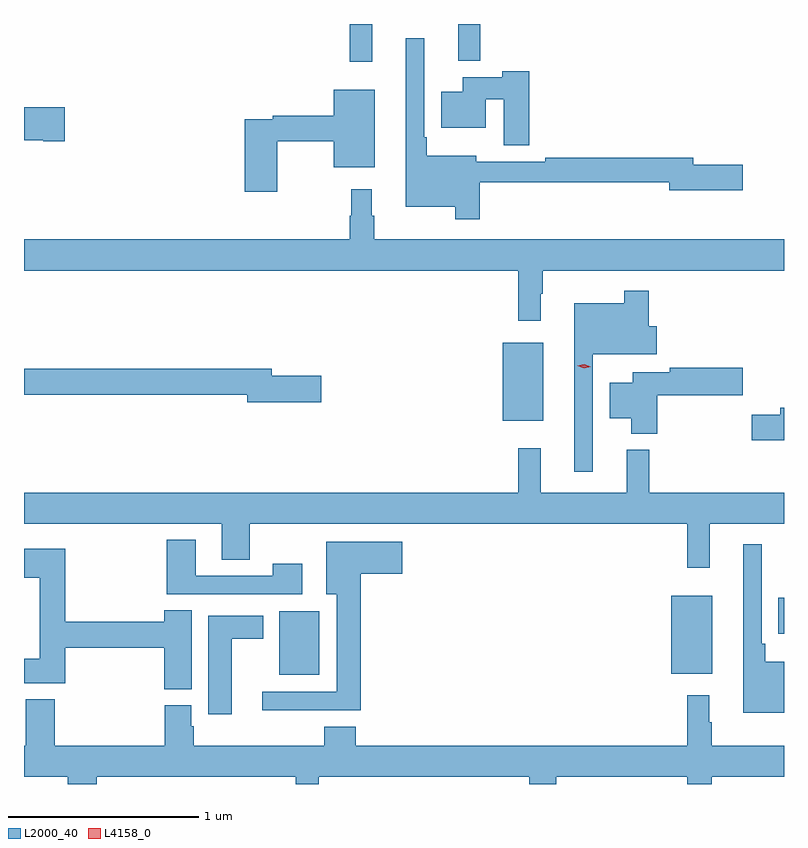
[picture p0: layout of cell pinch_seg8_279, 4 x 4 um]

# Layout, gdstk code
import gdstk
lib = gdstk.Library(unit=1e-6, precision=1e-09)
def R(c, l, rs):  # rectangles x0, y0, x1, y1
    for r in rs: c.add(gdstk.rectangle(r[:2], r[2:], *l))
def P(c, l, *ps):  # polygons
    for p in ps: c.add(gdstk.Polygon(p, *l))
L2000_40 = (2000, 40)
L4158_0 = (4158, 0)

pinch_seg8_279 = lib.new_cell('pinch_seg8_279')
R(pinch_seg8_279, L2000_40, [(504.506,1138.349,504.718,1138.684), (506.57,1138.355,506.785,1138.765), (507.134,1138.565,507.163,1138.753), (505.682,1139.687,505.897,1140.097), (504.877,1141.575,504.995,1141.774), (505.448,1141.58,505.565,1141.774)])
P(pinch_seg8_279, L2000_40, [(505.562,1140.942),(506.558,1140.942),(506.558,1140.899),(506.947,1140.899),(506.947,1141.034),(506.686,1141.034),(506.686,1141.07),(505.906,1141.07),(505.906,1141.05),(505.543,1141.05),(505.543,1141.081),(505.282,1141.081),(505.282,1141.177),(505.269,1141.177),(505.269,1141.699),(505.172,1141.699),(505.172,1140.812),(505.434,1140.812),(505.434,1140.747),(505.562,1140.747)],
  [(505.823,1141.525),(505.681,1141.525),(505.681,1141.495),(505.472,1141.495),(505.472,1141.417),(505.358,1141.417),(505.358,1141.229),(505.594,1141.229),(505.594,1141.378),(505.688,1141.378),(505.688,1141.137),(505.823,1141.137)],
  [(504.496,1141.156),(504.794,1141.156),(504.794,1141.019),(505.009,1141.019),(505.009,1141.429),(504.794,1141.429),(504.794,1141.292),(504.472,1141.292),(504.472,1141.272),(504.326,1141.272),(504.326,1140.891),(504.496,1140.891)],
  [(503.377,1141.335),(503.163,1141.335),(503.163,1141.163),(503.264,1141.163),(503.264,1141.157),(503.377,1141.157)],
  [(505.882,1140.353),(505.894,1140.353),(505.894,1140.476),(507.163,1140.476),(507.163,1140.64),(505.006,1140.64),(505.006,1140.764),(504.994,1140.764),(504.994,1140.904),(504.885,1140.904),(504.885,1140.764),(504.877,1140.764),(504.877,1140.64),(503.163,1140.64),(503.163,1140.476),(505.765,1140.476),(505.765,1140.213),(505.882,1140.213)],
  [(506.157,1140.035),(506.494,1140.035),(506.494,1140.183),(506.45,1140.183),(506.45,1140.37),(506.322,1140.37),(506.322,1140.304),(506.06,1140.304),(506.06,1139.418),(506.157,1139.418)],
  [(506.495,1139.819),(506.947,1139.819),(506.947,1139.966),(506.562,1139.966),(506.562,1139.941),(506.366,1139.941),(506.366,1139.887),(506.246,1139.887),(506.246,1139.699),(506.36,1139.699),(506.36,1139.618),(506.495,1139.618)],
  [(504.727,1139.924),(504.466,1139.924),(504.466,1139.96),(503.163,1139.96),(503.163,1139.824),(504.338,1139.824),(504.338,1139.782),(504.727,1139.782)],
  [(507.163,1139.753),(507.143,1139.753),(507.143,1139.717),(506.994,1139.717),(506.994,1139.582),(507.163,1139.582)],
  [(506.771,1139.144),(507.163,1139.144),(507.163,1139.308),(506.453,1139.308),(506.453,1139.533),(506.336,1139.533),(506.336,1139.308),(505.883,1139.308),(505.883,1139.542),(505.765,1139.542),(505.765,1139.308),(503.163,1139.308),(503.163,1139.144),(504.203,1139.144),(504.203,1138.954),(504.351,1138.954),(504.351,1139.144),(506.653,1139.144),(506.653,1138.911),(506.771,1138.911)],
  [(504.628,1138.933),(504.472,1138.933),(504.472,1138.869),(504.067,1138.869),(504.067,1139.059),(503.915,1139.059),(503.915,1138.773),(504.628,1138.773)],
  [(504.935,1138.88),(505.153,1138.88),(505.153,1139.05),(504.755,1139.05),(504.755,1138.772),(504.809,1138.772),(504.809,1138.26),(504.417,1138.26),(504.417,1138.163),(504.935,1138.163)],
  [(507.163,1138.417),(507.065,1138.417),(507.065,1138.513),(507.045,1138.513),(507.045,1139.035),(506.948,1139.035),(506.948,1138.148),(507.163,1138.148)],
  [(504.046,1138.688),(503.9,1138.688),(503.9,1138.628),(503.381,1138.628),(503.381,1139.011),(503.163,1139.011),(503.163,1138.859),(503.246,1138.859),(503.246,1138.432),(503.163,1138.432),(503.163,1138.304),(503.381,1138.304),(503.381,1138.492),(503.9,1138.492),(503.9,1138.273),(504.046,1138.273)],
  [(504.256,1138.538),(504.421,1138.538),(504.421,1138.66),(504.134,1138.66),(504.134,1138.14),(504.256,1138.14)],
  [(503.546,1137.812),(504.592,1137.812),(504.592,1137.774),(504.713,1137.774),(504.713,1137.812),(505.823,1137.812),(505.823,1137.774),(505.963,1137.774),(505.963,1137.812),(506.653,1137.812),(506.653,1137.774),(506.782,1137.774),(506.782,1137.812),(507.163,1137.812),(507.163,1137.976),(506.782,1137.976),(506.782,1138.1),(506.77,1138.1),(506.77,1138.24),(506.653,1138.24),(506.653,1137.976),(504.908,1137.976),(504.908,1138.075),(504.743,1138.075),(504.743,1137.976),(504.056,1137.976),(504.056,1138.077),(504.043,1138.077),(504.043,1138.188),(503.903,1138.188),(503.903,1137.976),(503.324,1137.976),(503.324,1138.219),(503.171,1138.219),(503.171,1137.976),(503.163,1137.976),(503.163,1137.812),(503.393,1137.812),(503.393,1137.774),(503.546,1137.774)])
P(pinch_seg8_279, L4158_0, [(506.111,1139.963),(506.076,1139.975),(506.076,1139.975),(506.076,1139.975),(506.112,1139.983),(506.147,1139.971),(506.147,1139.97),(506.147,1139.97)])

lib.write_gds('pinch_seg8_279.gds')
